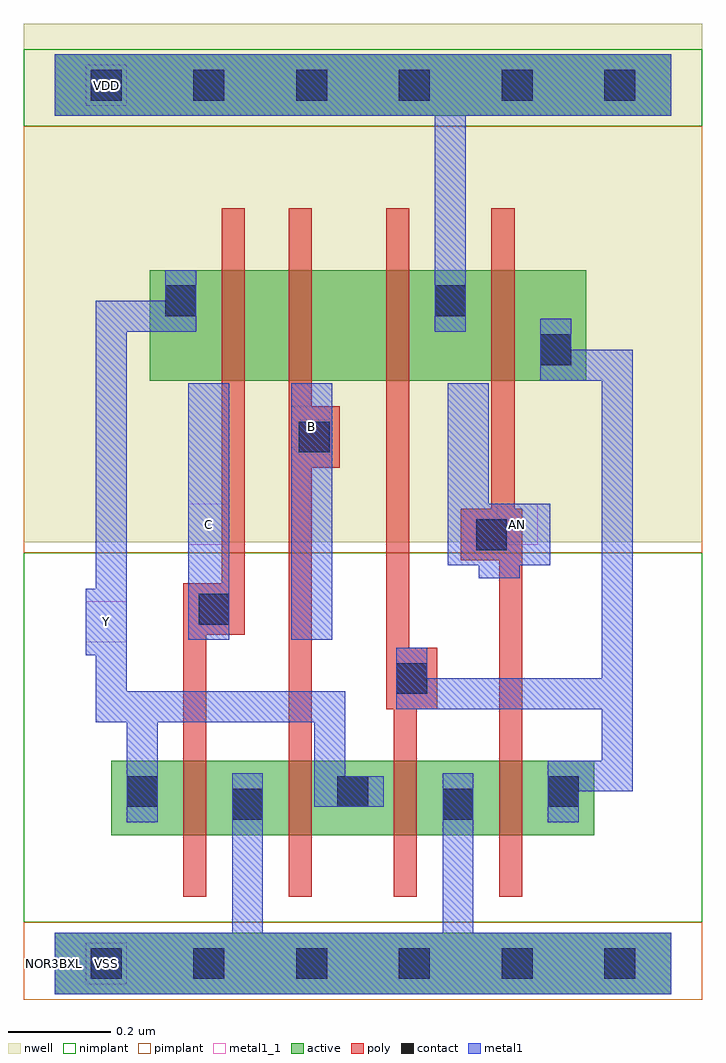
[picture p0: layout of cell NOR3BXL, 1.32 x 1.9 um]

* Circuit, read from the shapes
.subckt NOR3BXL AN B C VDD VSS Y
M1 VSS C Y VSS nfet w=0.145u l=0.045u
M2 Y B VSS VSS nfet w=0.145u l=0.045u
M3 VSS n1 Y VSS nfet w=0.145u l=0.045u
M4 n1 AN VSS VSS nfet w=0.145u l=0.045u
M5 n2 C Y VDD pfet w=0.215u l=0.045u
M6 n3 B n2 VDD pfet w=0.215u l=0.045u
M7 VDD n1 n3 VDD pfet w=0.215u l=0.045u
M8 n1 AN VDD VDD pfet w=0.215u l=0.045u
.ends

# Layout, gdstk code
import gdstk
lib = gdstk.Library(unit=1e-6, precision=5e-10)
def R(c, l, rs):  # rectangles x0, y0, x1, y1
    for r in rs: c.add(gdstk.rectangle(r[:2], r[2:], *l))
def A(c, l, x, y, w, h, nx, ny, dx, dy):  # array of equal rectangles
    R(c, l, [(x+i*dx, y+j*dy, x+i*dx+w, y+j*dy+h) for i in range(nx) for j in range(ny)])
def P(c, l, *ps):  # polygons
    for p in ps: c.add(gdstk.Polygon(p, *l))
active = (1, 0)
nwell = (2, 0)
poly = (3, 0)
nimplant = (4, 0)
pimplant = (5, 0)
contact = (6, 0)
metal1 = (7, 0)
metal1_1 = (7, 1)

nor3bxl = lib.new_cell('NOR3BXL')
R(nor3bxl, active, [(0,-0.06,1.2,0.06), (0.11,0.25,1.05,0.395), (0.185,1.135,1.035,1.35), (0,1.65,1.2,1.77)])
R(nor3bxl, nwell, [(-0.06,0.82,1.26,1.83)])
P(nor3bxl, poly, [(0.325,1.47),(0.37,1.47),(0.37,0.64),(0.295,0.64),(0.295,0.13),(0.25,0.13),(0.25,0.74),(0.325,0.74)],
  [(0.455,1.47),(0.5,1.47),(0.5,1.085),(0.555,1.085),(0.555,0.965),(0.5,0.965),(0.5,0.13),(0.455,0.13)],
  [(0.645,1.47),(0.69,1.47),(0.69,0.615),(0.745,0.615),(0.745,0.495),(0.705,0.495),(0.705,0.13),(0.66,0.13),(0.66,0.495),(0.645,0.495)],
  [(0.85,1.47),(0.895,1.47),(0.895,0.885),(0.91,0.885),(0.91,0.13),(0.865,0.13),(0.865,0.785),(0.79,0.785),(0.79,0.885),(0.85,0.885)])
R(nor3bxl, nimplant, [(-0.06,0.08,1.26,0.8), (-0.06,1.63,1.26,1.78)])
R(nor3bxl, pimplant, [(-0.06,-0.07,1.26,0.08), (-0.06,0.8,1.26,1.63)])
A(nor3bxl, contact, 0.07, -0.03, 0.06, 0.06, 6, 2, 0.2, 1.71)
A(nor3bxl, contact, 0.14, 0.305, 0.06, 0.06, 3, 1, 0.41, 0)
R(nor3bxl, contact, [(0.345,0.28,0.405,0.34), (0.755,0.28,0.815,0.34), (0.665,0.525,0.725,0.585), (0.28,0.66,0.34,0.72), (0.82,0.805,0.88,0.865), (0.475,0.995,0.535,1.055), (0.945,1.165,1.005,1.225), (0.215,1.26,0.275,1.32), (0.74,1.26,0.8,1.32)])
R(nor3bxl, metal1, [(0.26,0.63,0.34,1.13), (0.46,0.63,0.54,1.13)])
P(nor3bxl, metal1, [(0,1.77),(1.2,1.77),(1.2,1.65),(0.8,1.65),(0.8,1.23),(0.74,1.23),(0.74,1.65),(0,1.65)],
  [(0.215,1.35),(0.275,1.35),(0.275,1.23),(0.14,1.23),(0.14,0.53),(0.565,0.53),(0.565,0.365),(0.64,0.365),(0.64,0.305),(0.505,0.305),(0.505,0.47),(0.2,0.47),(0.2,0.275),(0.14,0.275),(0.14,0.47),(0.08,0.47),(0.08,0.6),(0.06,0.6),(0.06,0.73),(0.08,0.73),(0.08,1.29),(0.215,1.29)],
  [(0.945,1.255),(1.005,1.255),(1.005,1.195),(1.125,1.195),(1.125,0.335),(1.02,0.335),(1.02,0.275),(0.96,0.275),(0.96,0.395),(1.065,0.395),(1.065,0.495),(0.665,0.495),(0.665,0.615),(0.725,0.615),(0.725,0.555),(1.065,0.555),(1.065,1.135),(0.945,1.135)],
  [(0.765,1.13),(0.845,1.13),(0.845,0.895),(0.965,0.895),(0.965,0.775),(0.905,0.775),(0.905,0.75),(0.825,0.75),(0.825,0.775),(0.765,0.775)],
  [(0.345,0.37),(0.405,0.37),(0.405,0.06),(0.755,0.06),(0.755,0.37),(0.815,0.37),(0.815,0.06),(1.2,0.06),(1.2,-0.06),(0,-0.06),(0,0.06),(0.345,0.06)])
R(nor3bxl, metal1_1, [(0.06,-0.04,0.14,0.04), (0.06,0.625,0.14,0.705), (0.26,0.815,0.34,0.895), (0.86,0.815,0.94,0.895), (0.46,1.005,0.54,1.085), (0.06,1.67,0.14,1.75)])
nor3bxl.add(gdstk.Label('Y', (0.1,0.665), layer=7, texttype=1))
nor3bxl.add(gdstk.Label('AN', (0.9,0.855), layer=7, texttype=1))
nor3bxl.add(gdstk.Label('B', (0.5,1.045), layer=7, texttype=1))
nor3bxl.add(gdstk.Label('C', (0.3,0.855), layer=7, texttype=1))
nor3bxl.add(gdstk.Label('VDD', (0.1,1.71), layer=7, texttype=1))
nor3bxl.add(gdstk.Label('VSS', (0.1,0), layer=7, texttype=1))
nor3bxl.add(gdstk.Label('NOR3BXL', (0,0), layer=63, texttype=0))

lib.write_gds('NOR3BXL.gds')
